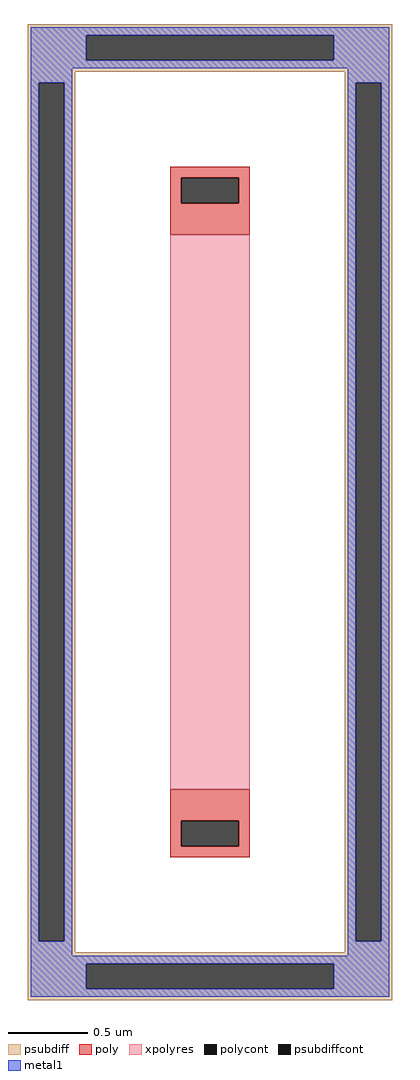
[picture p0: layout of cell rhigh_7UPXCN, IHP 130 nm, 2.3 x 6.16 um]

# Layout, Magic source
magic
tech ihp-sg13g2
<< psubdiff >>
rect -115 301 115 308
rect -115 285 -78 301
rect 78 285 115 301
rect -115 278 115 285
rect -115 271 -85 278
rect -115 -271 -108 271
rect -92 -271 -85 271
rect 85 271 115 278
rect -115 -278 -85 -271
rect 85 -271 92 271
rect 108 -271 115 271
rect 85 -278 115 -271
rect -115 -285 115 -278
rect -115 -301 -78 -285
rect 78 -301 115 -285
rect -115 -308 115 -301
<< psubdiffcont >>
rect -78 285 78 301
rect -108 -271 -92 271
rect 92 -271 108 271
rect -78 -301 78 -285
<< poly >>
rect -25 211 25 218
rect -25 195 -18 211
rect 18 195 25 211
rect -25 175 25 195
rect -25 -195 25 -175
rect -25 -211 -18 -195
rect 18 -211 25 -195
rect -25 -218 25 -211
<< polycont >>
rect -18 195 18 211
rect -18 -211 18 -195
<< xpolyres >>
rect -25 -175 25 175
<< metal1 >>
rect -113 301 113 306
rect -113 285 -78 301
rect 78 285 113 301
rect -113 280 113 285
rect -113 271 -87 280
rect -113 -271 -108 271
rect -92 -271 -87 271
rect 87 271 113 280
rect -113 -280 -87 -271
rect 87 -271 92 271
rect 108 -271 113 271
rect 87 -280 113 -271
rect -113 -285 113 -280
rect -113 -301 -78 -285
rect 78 -301 113 -285
rect -113 -306 113 -301
<< properties >>
string gencell rhigh
string library sg13g2_devstdin
string parameters w 0.5 l 3.5 nx 1 dx 0.18 ny 1 dy 0.18 wmin 0.50 lmin 0.50 class resistor endcov 0 glc 1 grc 1 gtc 1 gbc 1
<< end >>
